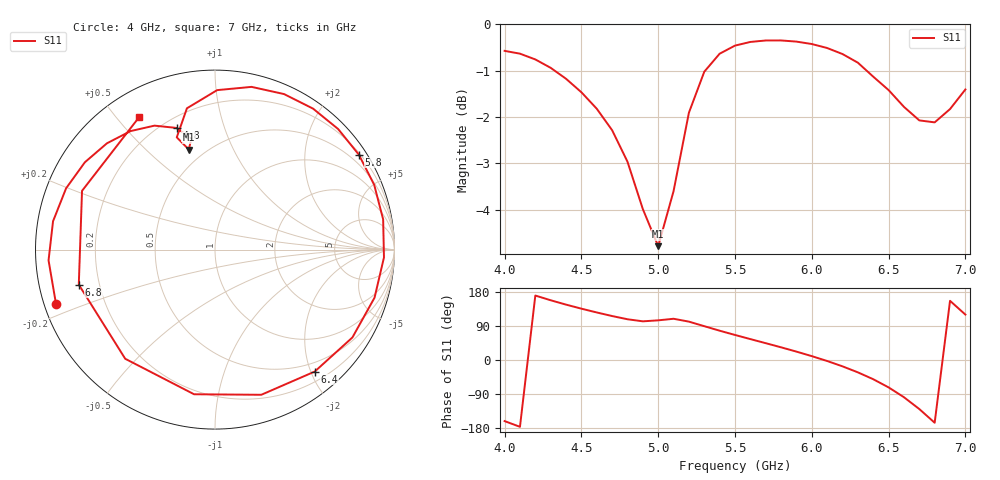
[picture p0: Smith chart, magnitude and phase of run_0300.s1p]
! Touchstone file exported from HFSS 2024.2.0
!  File:  C:/Users/wsak9/Desktop/Sim Fast/Widenad Patch/WP_AI_V1_sweep.aedt
!  Generated:  03:38:44 AM Oct 14, 2026
!  Design:  A1_model
!  Project:  WP_AI_V1_sweep
!  Setup:  Setup1
!  Solution:  Sweep
! Variables:
!  Air_gap = 4.86mm
!  Curve_Amp1 = 1.77
!  Curve_len1 = 1
!  Curve_pos = 12.015mm
!  Extra = 1.56mm
!  H_sub = 0.79mm
!  L_Patch = 20.03mm
!  L_Patch1 = 18.35mm
!  Sx = 0.36mm
!  Sy = 4.34mm
!  WS = 0.27mm
!  W_Patch = 13.89mm
!  W_Patch1 = 16.79mm
!Data is not renormalized
# GHz S MA
! Terminal data exported
! Port[1] = 1
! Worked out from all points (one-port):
!   31 points, 4 GHz to 7 GHz, reference per port
!   lowest |S11| = -4.8 dB at 5 GHz (marker M1), VSWR 3.72
!   |S11| at or under -10 dB: nowhere
!   S11 on the Smith chart (normalised r, x): 4 GHz: 0.03, -0.16; 4.8 GHz: 0.26, +0.70; 5.8 GHz: 0.24, +3.31; 6.4 GHz: 0.35, -2.06; 6.8 GHz: 0.12, -0.12; 7 GHz: 0.11, +0.57
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4  0.9358 -161.3
4.1  0.9293 -176.3
4.2  0.9161 170.1
4.4  0.8732 146.1
4.6  0.8106 125.4
4.7  0.7685 116.0
4.8  0.7108 107.5
4.9  0.6319 102.0
5  0.5764 104.7
5.1  0.6607 108.8
5.2  0.8027 101.2
5.3  0.8886 89.2
5.4  0.9292 77.3
5.5  0.9481 66.1
5.6  0.9568 55.2
5.8  0.9603 33.4
5.9  0.9575 22.1
6  0.9518 10.2
6.1  0.9424 -2.6
6.2  0.9284 -16.8
6.3  0.9087 -32.6
6.4  0.8777 -50.7
6.5  0.849 -72.3
6.6  0.8144 -98.2
6.7  0.7875 -129.4
6.8  0.7836 -165.6
6.9  0.8099 156.2
7  0.8503 119.8
